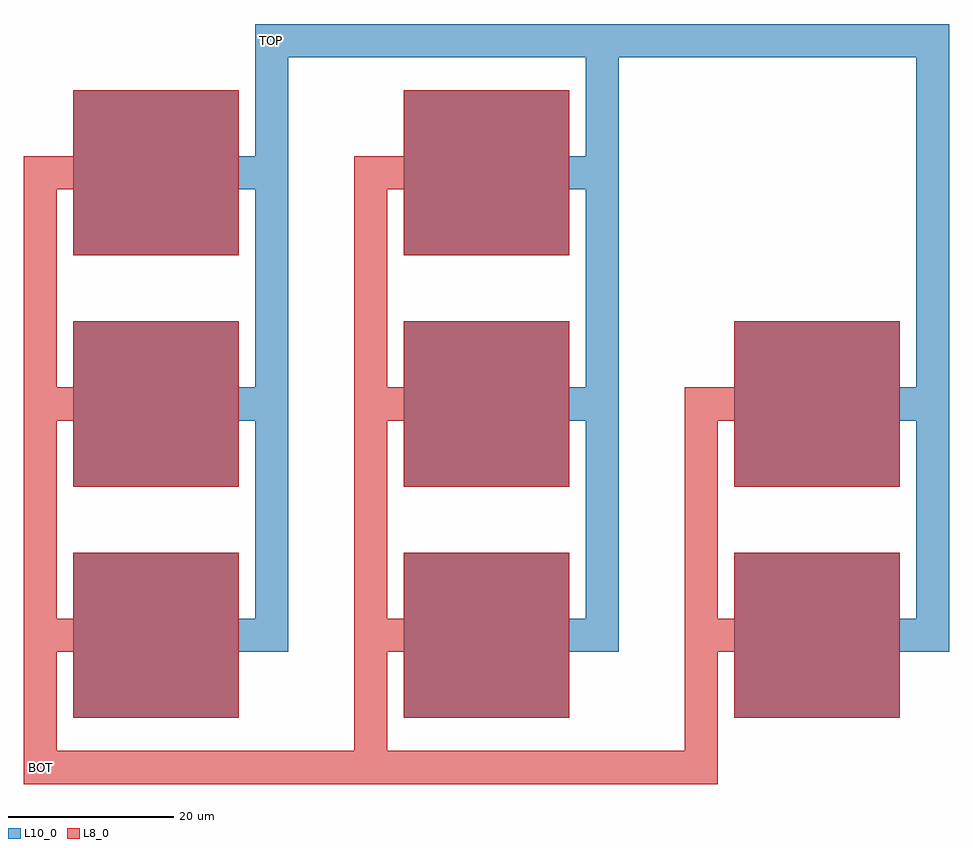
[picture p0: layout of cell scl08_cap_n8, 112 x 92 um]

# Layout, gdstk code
import gdstk
lib = gdstk.Library(unit=1e-6, precision=1e-09)
def R(c, l, rs):  # rectangles x0, y0, x1, y1
    for r in rs: c.add(gdstk.rectangle(r[:2], r[2:], *l))
def A(c, l, x, y, w, h, nx, ny, dx, dy):  # array of equal rectangles
    R(c, l, [(x+i*dx, y+j*dy, x+i*dx+w, y+j*dy+h) for i in range(nx) for j in range(ny)])
L8_0 = (8, 0)
L10_0 = (10, 0)

scl08_cap_n8 = lib.new_cell('scl08_cap_n8')
A(scl08_cap_n8, L8_0, 0, 0, 20, 20, 3, 2, 40, 28)
A(scl08_cap_n8, L8_0, -6, 8, 6, 4, 3, 2, 40, 28)
R(scl08_cap_n8, L8_0, [(-6,-8,-2,68), (-6,-8,78,-4), (34,-8,38,68), (74,-8,78,40), (0,56,20,76), (40,56,60,76), (-6,64,0,68), (34,64,40,68)])
A(scl08_cap_n8, L10_0, 0, 0, 20, 20, 3, 2, 40, 28)
A(scl08_cap_n8, L10_0, 20, 8, 6, 4, 3, 2, 40, 28)
A(scl08_cap_n8, L10_0, 22, 8, 4, 76, 3, 1, 40, 0)
R(scl08_cap_n8, L10_0, [(0,56,20,76), (40,56,60,76), (20,64,26,68), (60,64,66,68), (22,80,106,84)])
scl08_cap_n8.add(gdstk.Label('BOT', (-4,-6), layer=8, texttype=7))
scl08_cap_n8.add(gdstk.Label('TOP', (24,82), layer=10, texttype=7))

lib.write_gds('scl08_cap_n8.gds')
